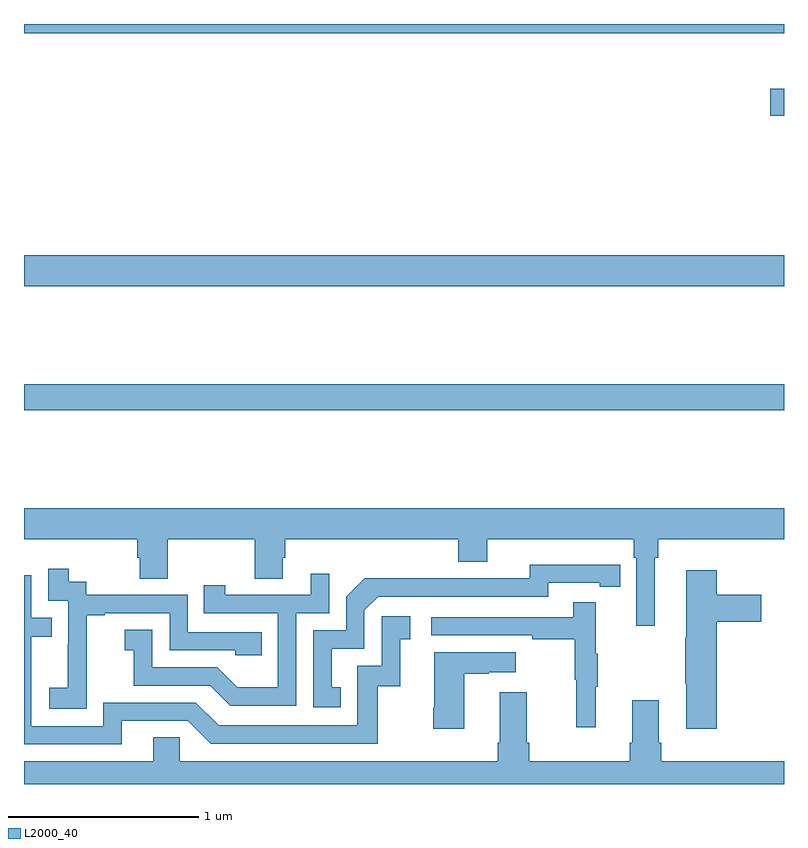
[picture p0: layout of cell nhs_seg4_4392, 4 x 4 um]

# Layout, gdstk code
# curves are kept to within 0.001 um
import gdstk
lib = gdstk.Library(unit=1e-6, precision=1e-09)
def R(c, l, rs):  # rectangles x0, y0, x1, y1
    for r in rs: c.add(gdstk.rectangle(r[:2], r[2:], *l))
def P(c, l, *ps):  # polygons
    for p in ps: c.add(gdstk.Polygon(p, *l))
L2000_40 = (2000, 40)

nhs_seg4_4392 = lib.new_cell('nhs_seg4_4392')
R(nhs_seg4_4392, L2000_40, [(347,762.868,351,763.004), (347,763.52,351,763.684), (350.928,764.417,351,764.559), (347,764.852,351,764.9)])
P(nhs_seg4_4392, L2000_40, [(350.32,762.092),(350.339,762.092),(350.339,762.188),(351,762.188),(351,762.352),(347,762.352),(347,762.188),(347.597,762.188),(347.597,762.09),(347.609,762.09),(347.609,761.98),(347.757,761.98),(347.757,762.188),(348.214,762.188),(348.214,761.98),(348.361,761.98),(348.361,762.09),(348.374,762.09),(348.374,762.188),(349.286,762.188),(349.286,762.071),(349.438,762.071),(349.438,762.188),(350.21,762.188),(350.21,762.092),(350.223,762.092),(350.223,761.733),(350.32,761.733)],
  [(348.668,761.409),(348.619,761.409),(348.619,761.613),(348.792,761.613),(348.792,761.814),(348.864,761.886),(349.758,761.886),(349.758,761.958),(350.03,761.958),(350.03,761.938),(350.138,761.938),(350.138,762.054),(349.662,762.055),(349.662,761.982),(349.202,761.982),(349.202,761.984),(348.794,761.984),(348.696,761.886),(348.696,761.709),(348.522,761.709),(348.522,761.304),(348.668,761.304)],
  [(347.331,761.503),(347.33,761.503),(347.33,761.787),(347.425,761.787),(347.425,761.799),(347.766,761.799),(347.766,761.604),(348.111,761.604),(348.111,761.577),(348.251,761.577),(348.251,761.7),(347.862,761.7),(347.862,761.895),(347.328,761.895),(347.328,761.964),(347.236,761.964),(347.236,762.034),(347.127,762.034),(347.127,761.865),(347.232,761.865),(347.232,761.636),(347.231,761.636),(347.231,761.407),(347.133,761.407),(347.133,761.297),(347.331,761.297)],
  [(350.645,761.753),(350.881,761.753),(350.881,761.895),(350.645,761.895),(350.645,762.025),(350.486,762.025),(350.486,761.669),(350.479,761.669),(350.479,761.428),(350.486,761.428),(350.486,761.19),(350.645,761.19)],
  [(348.432,761.799),(348.606,761.799),(348.606,762.007),(348.509,762.007),(348.509,761.895),(348.058,761.895),(348.058,761.947),(347.947,761.947),(347.947,761.799),(348.336,761.799),(348.336,761.41),(348.122,761.41),(348.018,761.514),(347.676,761.514),(347.676,761.713),(347.529,761.713),(347.529,761.603),(347.578,761.603),(347.578,761.418),(347.981,761.418),(348.086,761.313),(348.432,761.313)],
  [(347.515,761.232),(347.862,761.232),(347.982,761.112),(348.862,761.112),(348.862,761.415),(348.98,761.415),(348.98,761.661),(349.033,761.661),(349.033,761.782),(348.882,761.782),(348.882,761.523),(348.753,761.523),(348.753,761.208),(348.024,761.208),(347.904,761.328),(347.418,761.328),(347.418,761.205),(347.037,761.205),(347.037,761.674),(347.147,761.674),(347.147,761.775),(347.037,761.775),(347.037,762),(347,762),(347,761.109),(347.515,761.109)],
  [(350.009,761.411),(350.02,761.411),(350.02,761.585),(350.009,761.585),(350.009,761.857),(349.891,761.857),(349.891,761.778),(349.143,761.778),(349.143,761.682),(349.675,761.682),(349.675,761.662),(349.899,761.662),(349.899,761.448),(349.906,761.448),(349.906,761.199),(350.009,761.199)],
  [(349.318,761.479),(349.445,761.479),(349.445,761.489),(349.588,761.489),(349.588,761.593),(349.16,761.593),(349.16,761.302),(349.153,761.302),(349.153,761.19),(349.318,761.19)],
  [(351,761.02),(350.354,761.02),(350.354,761.116),(350.341,761.116),(350.341,761.341),(350.201,761.341),(350.201,761.116),(350.189,761.116),(350.189,761.02),(349.658,761.02),(349.658,761.116),(349.645,761.116),(349.645,761.383),(349.505,761.383),(349.505,761.116),(349.493,761.116),(349.493,761.02),(347.82,761.02),(347.82,761.147),(347.681,761.147),(347.681,761.02),(347,761.02),(347,760.9),(351,760.9)])

lib.write_gds('nhs_seg4_4392.gds')
